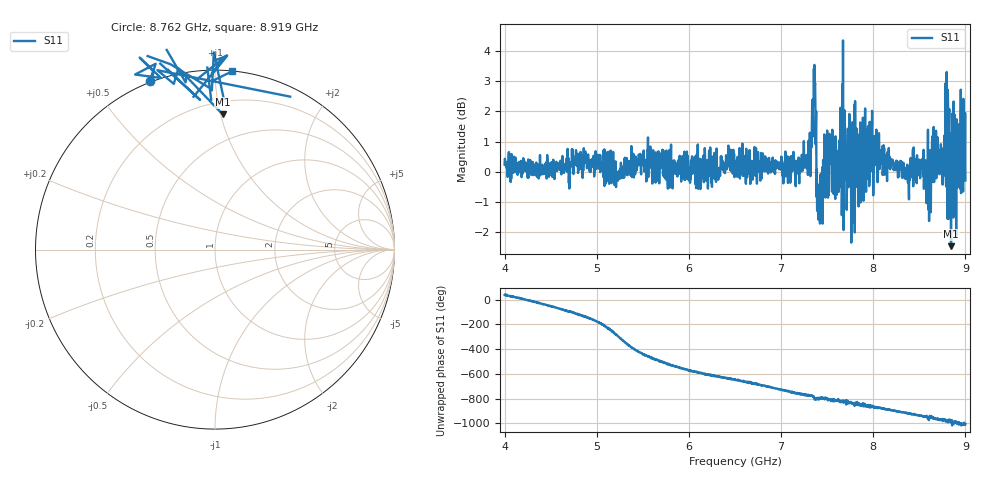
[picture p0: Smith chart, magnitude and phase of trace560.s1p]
! Created with skrf 1.8.0 (http://scikit-rf.org).
# Hz S RI R 50.0
!freq ReS11 ImS11
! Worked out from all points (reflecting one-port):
!   1601 points, 4 GHz to 9 GHz, reference 50 ohm
!   lowest |S11| = -2.5 dB at 8.844 GHz (marker M1), VSWR 7.13, Z = 14.6 + j50.8 ohm
!   phase of S11 starts at 39 deg and turns -1043 deg over the sweep
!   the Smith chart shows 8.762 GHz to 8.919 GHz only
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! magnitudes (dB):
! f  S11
! 4 GHz  0.2
! 4.625 GHz  0.3
! 4.884 GHz  0.3
! 5.25 GHz  0.0
! 5.572 GHz  0.2
! 5.875 GHz  -0.2
! 6.5 GHz  -0.1
! 7.125 GHz  0.4
! 7.294 GHz  0.2
! 7.356 GHz  3.4
! 7.409 GHz  -0.7
! 7.512 GHz  0.3
! 7.603 GHz  -0.8
! 7.669 GHz  1.3
! 7.75 GHz  -0.2
! 7.775 GHz  1.6
! 7.8 GHz  -2.0
! 7.928 GHz  1.4
! 8.375 GHz  -0.3
! 8.512 GHz  0.1
! 8.603 GHz  -0.1
! 8.656 GHz  1.5
! 8.766 GHz  0.7
! 8.8 GHz  0.7
! 8.844 GHz  -2.5
! 8.869 GHz  -1.5
! 8.953 GHz  -0.7
! 9 GHz  -0.3
